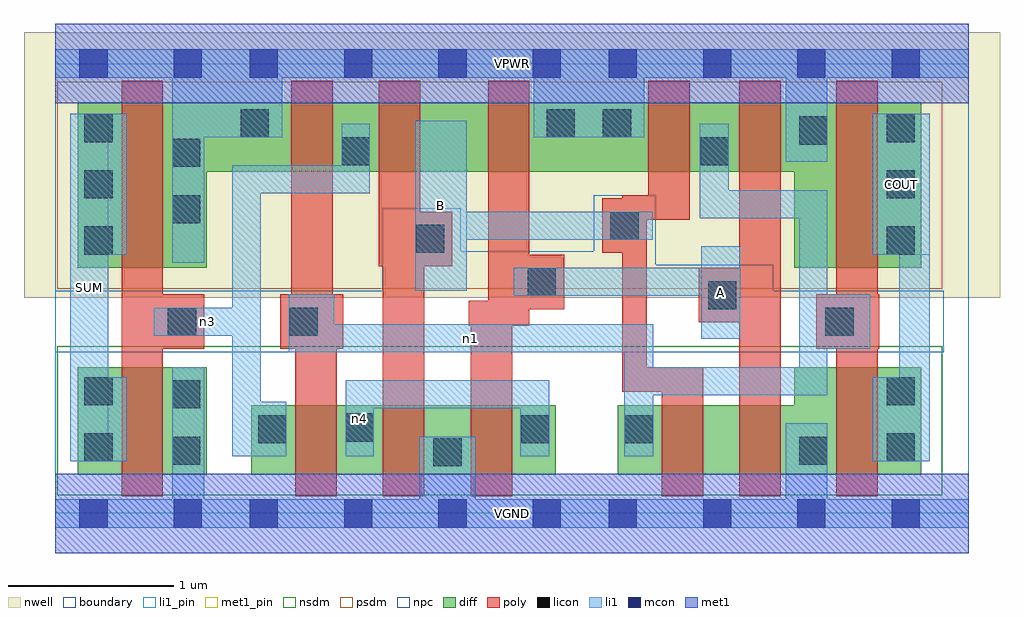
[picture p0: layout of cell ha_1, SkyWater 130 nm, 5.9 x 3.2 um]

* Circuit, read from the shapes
.subckt ha_1 A B COUT SUM VGND VPWR n1 n3 n4
XM1 VGND n3 SUM VSUBS sky130_fd_pr__nfet_01v8 w=0.65 l=0.25
XM2 n4 n1 n3 VSUBS sky130_fd_pr__nfet_01v8 w=0.42 l=0.25
XM3 VGND B n4 VSUBS sky130_fd_pr__nfet_01v8 w=0.42 l=0.25
XM4 n4 A VGND VSUBS sky130_fd_pr__nfet_01v8 w=0.42 l=0.25
XM5 n2 B n1 VSUBS sky130_fd_pr__nfet_01v8 w=0.42 l=0.25
XM6 VGND A n2 VSUBS sky130_fd_pr__nfet_01v8 w=0.42 l=0.25
XM7 COUT n1 VGND VSUBS sky130_fd_pr__nfet_01v8 w=0.65 l=0.25
XM8 VPWR n3 SUM n5 sky130_fd_pr__pfet_01v8 w=1 l=0.25
XM9 n3 n1 VPWR n5 sky130_fd_pr__pfet_01v8 w=0.42 l=0.25
XM10 n6 B n3 n5 sky130_fd_pr__pfet_01v8 w=0.42 l=0.25
XM11 VPWR A n6 n5 sky130_fd_pr__pfet_01v8 w=0.42 l=0.25
XM12 n1 B VPWR n5 sky130_fd_pr__pfet_01v8 w=0.42 l=0.25
XM13 VPWR A n1 n5 sky130_fd_pr__pfet_01v8 w=0.42 l=0.25
XM14 COUT n1 VPWR n5 sky130_fd_pr__pfet_01v8 w=1 l=0.25
.ends

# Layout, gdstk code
import gdstk
lib = gdstk.Library(unit=1e-6, precision=1e-09)
def R(c, l, rs):  # rectangles x0, y0, x1, y1
    for r in rs: c.add(gdstk.rectangle(r[:2], r[2:], *l))
def A(c, l, x, y, w, h, nx, ny, dx, dy):  # array of equal rectangles
    R(c, l, [(x+i*dx, y+j*dy, x+i*dx+w, y+j*dy+h) for i in range(nx) for j in range(ny)])
nwell = (64, 20)
diff = (65, 20)
poly = (66, 20)
licon = (66, 44)
li1_pin = (67, 16)
li1 = (67, 20)
mcon = (67, 44)
met1_pin = (68, 16)
met1 = (68, 20)
nsdm = (93, 44)
psdm = (94, 20)
npc = (95, 20)
boundary = (235, 4)

ha_1 = lib.new_cell('ha_1')
R(ha_1, nwell, [(-0.19,1.305,5.71,2.91), (0,1.305,5.52,2.91)])
R(ha_1, diff, [(0.135,0.235,0.915,0.885), (1.185,0.235,3.025,0.655), (3.4,0.235,5.235,0.655), (4.465,0.235,5.235,0.885), (0.135,1.485,0.915,2.485), (4.465,1.485,5.235,2.485), (0.135,2.065,5.235,2.485)])
R(ha_1, poly, [(0.4,0.105,0.65,2.615), (1.45,0.105,1.7,1.325), (1.98,0.105,2.23,1.825), (2.51,0.105,2.76,1.285), (3.665,0.105,3.915,0.885), (4.135,0.105,4.385,2.615), (4.72,0.105,4.97,2.615), (3.425,0.735,3.575,1.925), (3.425,0.735,3.915,0.885), (0.4,0.995,0.9,1.325), (1.36,0.995,1.74,1.325), (1.425,0.995,1.675,2.615), (4.6,0.995,4.98,1.325), (2.5,1.135,2.865,1.285), (2.615,1.135,2.865,2.615), (3.89,1.155,4.385,1.485), (2.615,1.235,3.075,1.565), (1.955,1.495,2.205,2.615), (1.955,1.495,2.4,1.825), (3.305,1.575,3.575,1.905), (3.425,1.775,3.835,1.925), (3.585,1.775,3.835,2.615)])
A(ha_1, licon, 0.175, 1.565, 0.17, 0.17, 1, 3, 0, 0.34)
A(ha_1, licon, 5.025, 1.565, 0.17, 0.17, 1, 3, 0, 0.34)
R(ha_1, licon, [(2.285,0.285,2.455,0.455), (0.705,0.295,0.875,0.465), (4.495,0.295,4.665,0.465), (0.175,0.315,0.345,0.485), (5.025,0.315,5.195,0.485), (1.225,0.425,1.395,0.595), (2.815,0.425,2.985,0.595), (3.44,0.425,3.61,0.595), (1.755,0.435,1.925,0.605), (0.705,0.635,0.875,0.805), (0.175,0.655,0.345,0.825), (5.025,0.655,5.195,0.825), (0.68,1.075,0.85,1.245), (1.415,1.075,1.585,1.245), (4.655,1.075,4.825,1.245), (3.945,1.235,4.115,1.405), (2.855,1.315,3.025,1.485), (2.18,1.575,2.35,1.745), (3.355,1.655,3.525,1.825), (0.705,1.755,0.875,1.925), (0.705,2.095,0.875,2.265), (1.73,2.105,1.9,2.275), (3.9,2.105,4.07,2.275), (4.495,2.23,4.665,2.4), (1.12,2.275,1.29,2.445), (2.97,2.275,3.14,2.445), (3.31,2.275,3.48,2.445)])
R(ha_1, li1_pin, [(0.09,0.315,0.32,2.415), (3.905,1.055,4.14,1.615), (2.175,1.345,2.485,2.375), (4.94,1.565,5.285,2.415)])
R(ha_1, li1, [(0,-0.085,5.52,0.085), (0.705,-0.085,0.9,0.885), (2.2,-0.085,2.54,0.465), (4.415,-0.085,4.665,0.545), (0.09,0.315,0.32,2.415), (0.09,0.315,0.43,0.825), (4.94,0.315,5.285,0.825), (5.1,0.315,5.285,2.415), (1.07,0.345,1.24,2.105), (1.07,0.345,1.395,0.675), (1.755,0.345,1.925,0.805), (2.81,0.345,2.985,0.805), (3.44,0.345,3.615,1.145), (1.755,0.635,2.985,0.805), (3.44,0.715,4.665,0.885), (4.495,0.715,4.665,1.955), (1.41,0.975,3.615,1.145), (1.41,0.975,1.685,1.325), (4.495,0.995,4.925,1.325), (3.905,1.055,4.14,1.615), (0.595,1.075,1.24,1.245), (2.77,1.315,4.14,1.485), (2.175,1.345,2.485,2.375), (0.705,1.515,0.9,2.805), (0.09,1.565,0.43,2.415), (4.94,1.565,5.285,2.415), (2.175,1.655,3.61,1.825), (3.895,1.785,4.07,2.355), (3.895,1.785,4.665,1.955), (1.07,1.935,1.9,2.105), (1.73,1.935,1.9,2.355), (4.415,2.125,4.665,2.805), (0.705,2.275,1.37,2.805), (2.89,2.275,3.56,2.805), (0,2.635,5.52,2.805)])
A(ha_1, mcon, 1.175, -0.085, 0.17, 0.17, 4, 2, 0.57, 2.72)
A(ha_1, mcon, 3.345, -0.085, 0.17, 0.17, 4, 2, 0.57, 2.72)
R(ha_1, mcon, [(0.145,-0.085,0.315,0.085), (0.715,-0.085,0.885,0.085), (0.145,2.635,0.315,2.805), (0.715,2.635,0.885,2.805)])
R(ha_1, met1_pin, [(0,-0.24,5.52,0.24), (0,2.48,5.52,2.96)])
R(ha_1, met1, [(0,-0.24,5.52,0.24), (0,2.48,5.52,2.96)])
R(ha_1, nsdm, [(0.01,0.11,5.36,1.01)])
R(ha_1, psdm, [(0.01,1.36,5.36,2.61)])
R(ha_1, npc, [(0,0.975,5.37,1.345), (1.975,0.975,3.63,1.585), (1.975,0.975,2.45,1.845), (1.975,0.975,4.34,1.505), (3.255,0.975,3.63,1.925)])
R(ha_1, boundary, [(0,0,5.52,2.72)])
ha_1.add(gdstk.Label('A', (4.022,1.335), layer=67, texttype=5))
ha_1.add(gdstk.Label('B', (2.33,1.86), layer=67, texttype=5))
ha_1.add(gdstk.Label('COUT', (5.112,1.99), layer=67, texttype=5))
ha_1.add(gdstk.Label('SUM', (0.205,1.365), layer=67, texttype=5))
ha_1.add(gdstk.Label('n4', (1.84,0.575), layer=67, texttype=5))
ha_1.add(gdstk.Label('n3', (0.917,1.16), layer=67, texttype=5))
ha_1.add(gdstk.Label('n1', (2.512,1.06), layer=67, texttype=5))
ha_1.add(gdstk.Label('VPWR', (2.76,2.72), layer=68, texttype=5))
ha_1.add(gdstk.Label('VGND', (2.76,0), layer=68, texttype=5))
ha_1.add(gdstk.Label('A', (4.022,1.335), layer=67, texttype=16))
ha_1.add(gdstk.Label('B', (2.33,1.86), layer=67, texttype=16))
ha_1.add(gdstk.Label('COUT', (5.112,1.99), layer=67, texttype=16))
ha_1.add(gdstk.Label('SUM', (0.205,1.365), layer=67, texttype=16))
ha_1.add(gdstk.Label('VPWR', (2.76,2.72), layer=68, texttype=16))
ha_1.add(gdstk.Label('VGND', (2.76,0), layer=68, texttype=16))

lib.write_gds('ha_1.gds')
